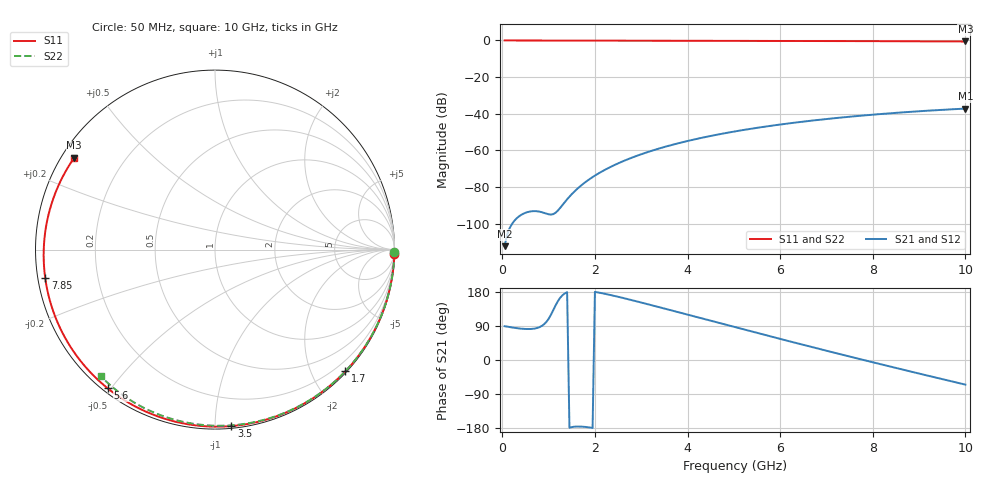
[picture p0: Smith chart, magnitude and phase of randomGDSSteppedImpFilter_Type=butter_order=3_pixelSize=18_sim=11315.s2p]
! freq	dB(S11)	phase(S11)	dB(S12)	phase(S12)
!  dB(S21)	phase(S21)	dB(S22)	phase(S22)
!S-par simulation data
#  GHz  S  DB  R 50
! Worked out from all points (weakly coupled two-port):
!   200 points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, 50 MHz to 10 GHz, reference 50 ohm
!   highest |S21| = -37.16 dB at 10 GHz (marker M1); lowest = -112.2 dB at 50 MHz (marker M2)
!   lowest |S11| = -0.6 dB at 10 GHz (marker M3), VSWR 30.61, Z = 1.78 + j14.9 ohm
!   |S11| at or under -10 dB: nowhere
!   |S22| runs from -0.4 to 0.0 dB; largest |S21 - S12| = 0
!   S11 on the Smith chart (normalised r, x): 50 MHz: 0, -88; 1.7 GHz: 0.02, -2.54; 3.5 GHz: 0.01, -1.10; 5.6 GHz: 0.01, -0.49; 7.85 GHz: 0.02, -0.08; 10 GHz: 0.04, +0.30
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0.05  -0.00 -1.3  -112.18 89.2  -112.18 89.2  -0.00 -0.8
0.45  -0.02 -11.6  -94.53 82.2  -94.53 82.2  -0.01 -6.8
0.85  -0.03 -21.8  -93.64 89.7  -93.64 89.7  -0.02 -12.9
1.25  -0.04 -31.9  -91.30 164.2  -91.30 164.2  -0.02 -18.9
1.65  -0.05 -41.8  -80.20 -175.6  -80.20 -175.6  -0.03 -24.9
1.7  -0.05 -43.0  -79.13 -175.7  -79.13 -175.7  -0.03 -25.6
1.75  -0.06 -44.3  -78.12 -176.1  -78.12 -176.1  -0.03 -26.4
2.05  -0.06 -51.5  -72.92 178.7  -72.92 178.7  -0.04 -30.8
2.45  -0.08 -61.0  -67.61 168.3  -67.61 168.3  -0.05 -36.6
2.9  -0.09 -71.4  -62.95 154.8  -62.95 154.8  -0.06 -43.1
3.4  -0.11 -82.5  -58.82 139.0  -58.82 139.0  -0.07 -50.2
3.5  -0.11 -84.7  -58.09 135.8  -58.09 135.8  -0.07 -51.6
4.25  -0.14 -100.7  -53.39 111.6  -53.39 111.6  -0.09 -61.9
5.05  -0.17 -116.9  -49.48 85.8  -49.48 85.8  -0.11 -72.6
5.6  -0.20 -127.7  -47.27 68.3  -47.27 68.3  -0.13 -79.7
6.15  -0.23 -138.3  -45.35 50.9  -45.35 50.9  -0.15 -86.7
6.7  -0.27 -148.7  -43.67 33.8  -43.67 33.8  -0.18 -93.6
7.3  -0.32 -160.0  -42.07 15.3  -42.07 15.3  -0.21 -100.8
7.85  -0.36 -170.4  -40.79 -1.5  -40.79 -1.5  -0.25 -107.4
8.35  -0.41 -180.0  -39.76 -16.5  -39.76 -16.5  -0.29 -113.3
9.2  -0.49 163.3  -38.28 -41.7  -38.28 -41.7  -0.36 -123.1
10  -0.57 146.9  -37.16 -65.0  -37.16 -65.0  -0.45 -132.1
